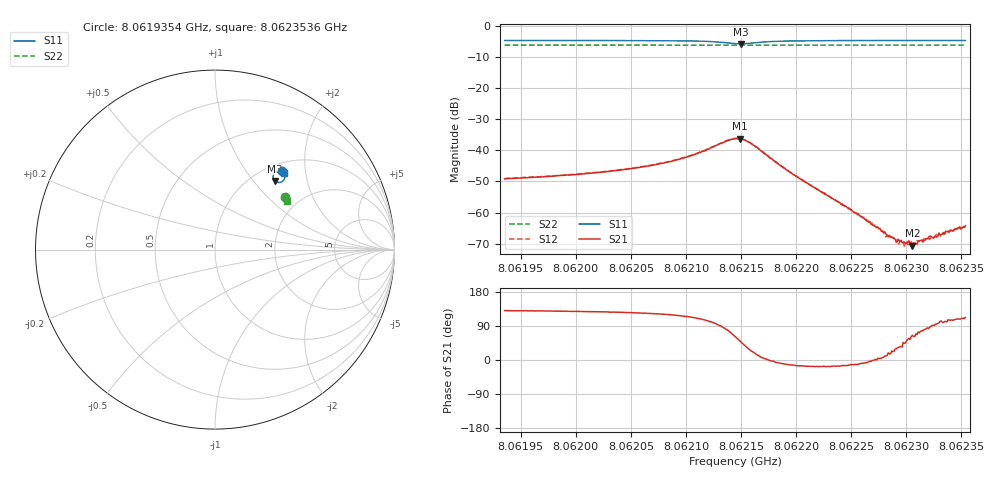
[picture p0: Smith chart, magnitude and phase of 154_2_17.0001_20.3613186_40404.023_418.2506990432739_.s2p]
#  HZ  S  RI  R  50.00
! Rohde & Schwarz Vector Network Analyzer
! Rohde-Schwarz,ZNB20-2Port,1311601062101988,3.16
! Created: UTC 3/20/2024, 10:58:58 PM
! freq[Hz]  re:S11  im:S11  re:S21  im:S21  re:S12  im:S12  re:S22  im:S22
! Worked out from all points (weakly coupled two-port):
!   401 points, 8.0619354 GHz to 8.0623536 GHz, reference 50 ohm
!   highest |S21| = -36.26 dB at 8.0621487 GHz (marker M1); lowest = -70.6 dB at 8.0623055 GHz (marker M2)
!   lowest |S11| = -5.9 dB at 8.0621497 GHz (marker M3), VSWR 3.07, Z = 62.9 + j64.9 ohm
!   |S11| at or under -10 dB: nowhere
!   |S22| runs from -6.3 to -6.3 dB; largest |S21 - S12| = 0.0011
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8.06193537e9  0.3722 0.4391  -0.00224 0.00263  -0.00207 0.0028  0.3875 0.2921
8.06200542e9  0.3782 0.4335  -0.00257 0.00326  -0.00238 0.0035  0.3899 0.2886
8.0620441e9  0.382 0.4286  -0.00288 0.00399  -0.00263 0.00421  0.3911 0.2867
8.06207547e9  0.3859 0.4222  -0.00314 0.00511  -0.00285 0.0054  0.3924 0.2848
8.0621037e9  0.3892 0.4109  -0.00322 0.00741  -0.00279 0.0077  0.3932 0.283
8.06212879e9  0.3825 0.3867  -0.000621 0.0122  -8.09e-06 0.0123  0.3932 0.2808
8.06214447e9  0.3488 0.3748  0.00714 0.0136  0.00803 0.0132  0.3921 0.2801
8.06214865e9  0.3368 0.3804  0.00971 0.0119  0.0104 0.0114  0.3917 0.2804
8.0621497e9  0.3342 0.3826  0.01 0.0113  0.0109 0.0107  0.3917 0.2805
8.06216225e9  0.3251 0.416  0.0111 0.00369  0.0114 0.00288  0.3923 0.2816
8.06218943e9  0.3513 0.4392  0.00501 -0.000931  0.00498 -0.00125  0.3947 0.2809
8.06221452e9  0.3642 0.439  0.00251 -0.000764  0.0025 -0.000904  0.3959 0.2794
8.06226157e9  0.3748 0.4349  0.000805 -0.000114  0.000797 -0.000128  0.3978 0.2771
8.06228457e9  0.3779 0.433  0.000414 0.000121  0.000376 6.91e-05  0.3987 0.2758
8.06229189e9  0.3789 0.4324  0.000291 0.000181  0.000337 0.000158  0.3989 0.2754
8.06230548e9  0.3805 0.4315  0.000124 0.000268  0.000132 0.000256  0.3994 0.2748
8.06231175e9  0.3811 0.4311  0.00011 0.000329  8.16e-05 0.000338  0.3996 0.2744
8.06232325e9  0.3822 0.4303  -6.4e-06 0.000402  2.49e-05 0.000375  0.3999 0.2738
8.06232848e9  0.3826 0.43  -4.97e-05 0.000423  -2.74e-05 0.000413  0.4002 0.2735
8.06233266e9  0.383 0.4295  -7.77e-05 0.000448  -4.62e-05 0.000418  0.4002 0.2733
8.06233789e9  0.3835 0.4292  -0.00014 0.000481  -7.92e-05 0.00047  0.4004 0.273
8.06235357e9  0.3847 0.4283  -0.00023 0.000565  -0.000167 0.000552  0.401 0.2721
